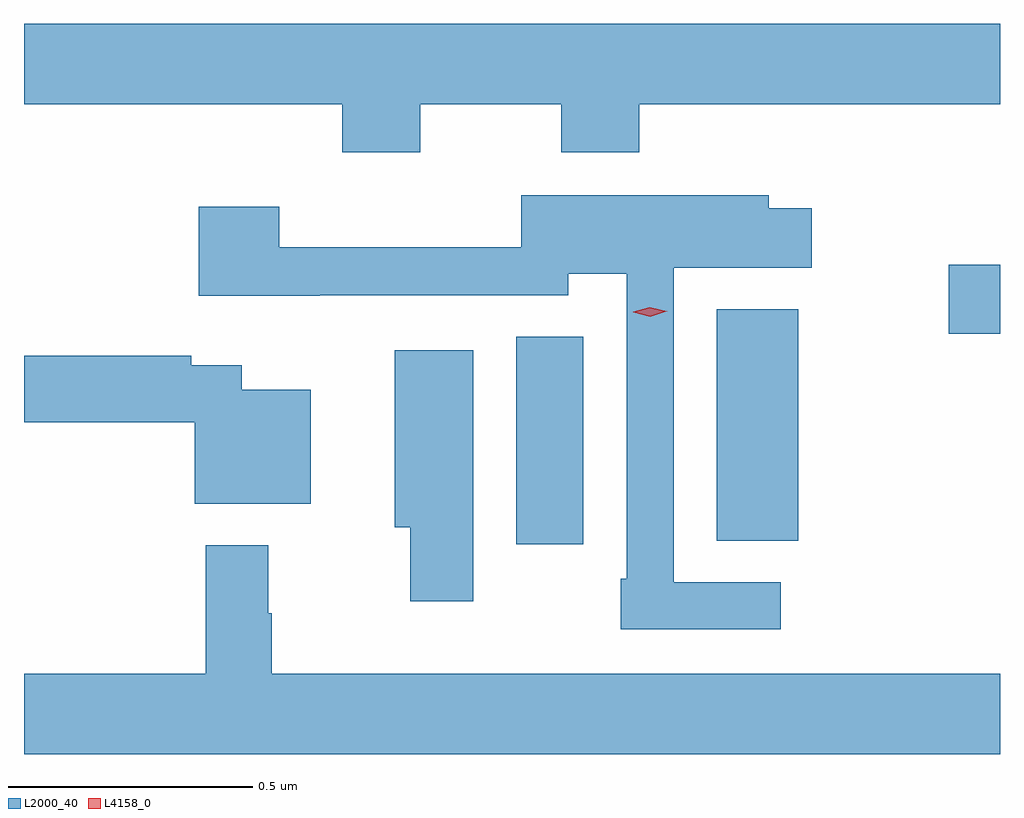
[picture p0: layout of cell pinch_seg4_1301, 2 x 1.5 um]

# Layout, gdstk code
import gdstk
lib = gdstk.Library(unit=1e-6, precision=1e-09)
def R(c, l, rs):  # rectangles x0, y0, x1, y1
    for r in rs: c.add(gdstk.rectangle(r[:2], r[2:], *l))
def P(c, l, *ps):  # polygons
    for p in ps: c.add(gdstk.Polygon(p, *l))
L2000_40 = (2000, 40)
L4158_0 = (4158, 0)

pinch_seg4_1301 = lib.new_cell('pinch_seg4_1301')
R(pinch_seg4_1301, L2000_40, [(223.736,757.29,223.873,757.715), (224.147,757.297,224.314,757.771), (224.622,757.721,224.727,757.863)])
P(pinch_seg4_1301, L2000_40, [(223.539,758.192),(223.828,758.192),(223.828,758.093),(223.988,758.093),(223.988,758.192),(224.727,758.192),(224.727,758.356),(222.727,758.356),(222.727,758.192),(223.379,758.192),(223.379,758.093),(223.539,758.093)],
  [(224.278,757.212),(224.058,757.212),(224.058,757.856),(224.341,757.856),(224.341,757.978),(224.253,757.978),(224.253,758.005),(223.746,758.005),(223.746,757.898),(223.25,757.898),(223.25,757.981),(223.085,757.981),(223.085,757.799),(223.333,757.799),(223.333,757.8),(223.842,757.8),(223.842,757.844),(223.962,757.844),(223.962,757.219),(223.95,757.219),(223.95,757.116),(224.278,757.116)],
  [(223.648,757.687),(223.487,757.687),(223.487,757.325),(223.519,757.325),(223.519,757.173),(223.648,757.173)],
  [(223.315,757.606),(223.173,757.606),(223.173,757.657),(223.07,757.657),(223.07,757.676),(222.727,757.676),(222.727,757.54),(223.077,757.54),(223.077,757.373),(223.315,757.373)],
  [(224.727,757.024),(223.235,757.024),(223.235,757.148),(223.228,757.148),(223.228,757.288),(223.099,757.288),(223.099,757.024),(222.727,757.024),(222.727,756.86),(224.727,756.86)])
P(pinch_seg4_1301, L4158_0, [(224.01,757.756),(223.975,757.765),(223.975,757.766),(223.975,757.766),(224.009,757.776),(224.044,757.767),(224.045,757.767),(224.044,757.767)])

lib.write_gds('pinch_seg4_1301.gds')
